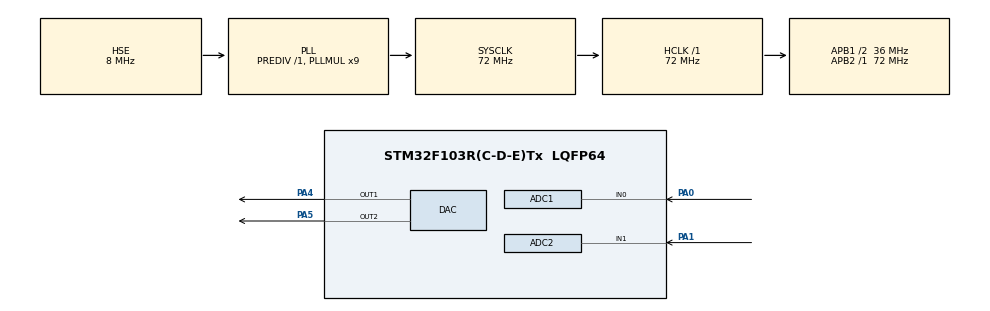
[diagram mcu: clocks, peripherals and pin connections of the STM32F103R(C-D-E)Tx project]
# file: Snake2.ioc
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ADC1.Channel-0\#ChannelRegularConversion=ADC_CHANNEL_0
ADC1.ContinuousConvMode=ENABLE
ADC1.NbrOfConversionFlag=1
ADC1.Rank-0\#ChannelRegularConversion=1
ADC1.SamplingTime-0\#ChannelRegularConversion=ADC_SAMPLETIME_1CYCLE_5
ADC1.master=1
ADC2.Channel-0\#ChannelRegularConversion=ADC_CHANNEL_1
ADC2.ContinuousConvMode=ENABLE
ADC2.DataAlign=ADC_DATAALIGN_RIGHT
ADC2.DiscontinuousConvMode=DISABLE
ADC2.EnableAnalogWatchDog=false
ADC2.EnableRegularConversion=ENABLE
ADC2.ExternalTrigConv=ADC_SOFTWARE_START
ADC2.InjNumberOfConversion=0
ADC2.NbrOfConversion=1
ADC2.NbrOfConversionFlag=1
ADC2.Rank-0\#ChannelRegularConversion=1
ADC2.SamplingTime-0\#ChannelRegularConversion=ADC_SAMPLETIME_1CYCLE_5
ADC2.ScanConvMode=ADC_SCAN_DISABLE
Mcu.Family=STM32F1
Mcu.Name=STM32F103R(C-D-E)Tx
Mcu.Package=LQFP64
NVIC.PriorityGroup=NVIC_PRIORITYGROUP_4
PA0-WKUP.Signal=ADCx_IN0
PA1.Signal=ADCx_IN1
PA13.Mode=Serial_Wire
PA13.Signal=SYS_JTMS-SWDIO
PA14.Mode=Serial_Wire
PA14.Signal=SYS_JTCK-SWCLK
PA4.Signal=COMP_DAC1_group
PA5.Signal=COMP_DAC2_group
PD0-OSC_IN.Mode=HSE-External-Oscillator
PD0-OSC_IN.Signal=RCC_OSC_IN
PD1-OSC_OUT.Mode=HSE-External-Oscillator
PD1-OSC_OUT.Signal=RCC_OSC_OUT
ProjectManager.HeapSize=0x200
ProjectManager.StackSize=0x400
ProjectManager.TargetToolchain=SW4STM32
RCC.ADCPresc=RCC_ADCPCLK2_DIV6
RCC.AHBFreq_Value=72000000
RCC.APB1CLKDivider=RCC_HCLK_DIV2
RCC.APB1Freq_Value=36000000
RCC.APB1TimFreq_Value=72000000
RCC.APB2Freq_Value=72000000
RCC.APB2TimFreq_Value=72000000
RCC.HCLKFreq_Value=72000000
RCC.PLLMUL=RCC_PLL_MUL9
RCC.PLLSourceVirtual=RCC_PLLSOURCE_HSE
RCC.SYSCLKFreq_VALUE=72000000
RCC.SYSCLKSource=RCC_SYSCLKSOURCE_PLLCLK
RCC.USBFreq_Value=72000000
SH.ADCx_IN0.0=ADC1_IN0,IN0
SH.ADCx_IN1.0=ADC2_IN1,IN1
SH.COMP_DAC1_group.0=DAC_OUT1,DAC_OUT1
SH.COMP_DAC2_group.0=DAC_OUT2,DAC_OUT2
board=custom

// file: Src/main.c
/**
  ******************************************************************************
  * @file           : main.c
  * @brief          : Main program body
  ******************************************************************************
  ** This notice applies to any and all portions of this file
  * that are not between comment pairs USER CODE BEGIN and
  * USER CODE END. Other portions of this file, whether
  * inserted by the user or by software development tools
  * are owned by their respective copyright owners.
  *
  * COPYRIGHT(c) 2019 STMicroelectronics
  *
  * Redistribution and use in source and binary forms, with or without modification,
  * are permitted provided that the following conditions are met:
  *   1. Redistributions of source code must retain the above copyright notice,
  *      this list of conditions and the following disclaimer.
  *   2. Redistributions in binary form must reproduce the above copyright notice,
  *      this list of conditions and the following disclaimer in the documentation
  *      and/or other materials provided with the distribution.
  *   3. Neither the name of STMicroelectronics nor the names of its contributors
  *      may be used to endorse or promote products derived from this software
  *      without specific prior written permission.
  *
  * THIS SOFTWARE IS PROVIDED BY THE COPYRIGHT HOLDERS AND CONTRIBUTORS "AS IS"
  * AND ANY EXPRESS OR IMPLIED WARRANTIES, INCLUDING, BUT NOT LIMITED TO, THE
  * IMPLIED WARRANTIES OF MERCHANTABILITY AND FITNESS FOR A PARTICULAR PURPOSE ARE
  * DISCLAIMED. IN NO EVENT SHALL THE COPYRIGHT HOLDER OR CONTRIBUTORS BE LIABLE
  * FOR ANY DIRECT, INDIRECT, INCIDENTAL, SPECIAL, EXEMPLARY, OR CONSEQUENTIAL
  * DAMAGES (INCLUDING, BUT NOT LIMITED TO, PROCUREMENT OF SUBSTITUTE GOODS OR
  * SERVICES; LOSS OF USE, DATA, OR PROFITS; OR BUSINESS INTERRUPTION) HOWEVER
  * CAUSED AND ON ANY THEORY OF LIABILITY, WHETHER IN CONTRACT, STRICT LIABILITY,
  * OR TORT (INCLUDING NEGLIGENCE OR OTHERWISE) ARISING IN ANY WAY OUT OF THE USE
  * OF THIS SOFTWARE, EVEN IF ADVISED OF THE POSSIBILITY OF SUCH DAMAGE.
  *
  ******************************************************************************
  */
#include "main.h"
#include "stm32f1xx_hal.h"
#include "adc.h"
#include "dac.h"
#include "gpio.h"

/* USER CODE BEGIN Includes */
#include "math.h"
/* USER CODE END Includes */

/* USER CODE BEGIN PV */
/* Private variables ---------------------------------------------------------*/

int i, j, k, l;
struct Snake s1;
float valueX = 0;
float valueY = 0;

//snake

int alive = 1;
int xa, ya;
int A;
int last = 4;
int check;

/* USER CODE END PV */

void SystemClock_Config(void);

/* USER CODE BEGIN PFP */
/* Private function prototypes -----------------------------------------------*/

struct coordinate {
	int x, y;
};
struct Snake {
	struct coordinate length[525];
	int L;
};

int randomx() {
	return(rand() % 3100 + 300);
}
int randomy() {
	return(rand() % 3100 + 300);
}

void table() {
    	for(i = 0; i <= 4000; i++){
			HAL_DAC_SetValue(&hdac,DAC_CHANNEL_1,DAC_ALIGN_12B_R,4000);
			HAL_DAC_SetValue(&hdac,DAC_CHANNEL_1,DAC_ALIGN_12B_R,4001);
			HAL_DAC_SetValue(&hdac,DAC_CHANNEL_1,DAC_ALIGN_12B_R,4002);
			HAL_DAC_SetValue(&hdac,DAC_CHANNEL_2,DAC_ALIGN_12B_R,i);
		}
		for(i = 0; i <= 4000; i++){
			HAL_DAC_SetValue(&hdac,DAC_CHANNEL_1,DAC_ALIGN_12B_R,i);
			HAL_DAC_SetValue(&hdac,DAC_CHANNEL_2,DAC_ALIGN_12B_R,4000);
			HAL_DAC_SetValue(&hdac,DAC_CHANNEL_2,DAC_ALIGN_12B_R,4001);
			HAL_DAC_SetValue(&hdac,DAC_CHANNEL_2,DAC_ALIGN_12B_R,4002);
		}
		for(i = 0; i <= 4000; i++){
			HAL_DAC_SetValue(&hdac,DAC_CHANNEL_1,DAC_ALIGN_12B_R,2);
			HAL_DAC_SetValue(&hdac,DAC_CHANNEL_1,DAC_ALIGN_12B_R,1);
			HAL_DAC_SetValue(&hdac,DAC_CHANNEL_1,DAC_ALIGN_12B_R,0);
			HAL_DAC_SetValue(&hdac,DAC_CHANNEL_2,DAC_ALIGN_12B_R,i);
		}
		for(i = 0; i <= 4000; i++){
			HAL_DAC_SetValue(&hdac,DAC_CHANNEL_1,DAC_ALIGN_12B_R,i);
			HAL_DAC_SetValue(&hdac,DAC_CHANNEL_2,DAC_ALIGN_12B_R,2);
			HAL_DAC_SetValue(&hdac,DAC_CHANNEL_2,DAC_ALIGN_12B_R,1);
			HAL_DAC_SetValue(&hdac,DAC_CHANNEL_2,DAC_ALIGN_12B_R,0);
		}
}

void showSnake(){
	  // chap e mar e avvalie
	  for (k = (s1.L - 1); k > 0 ; k--) {
		  if(last == 3 || last == 4){
			  for(l = 0; l < 100; l++){
				  HAL_DAC_SetValue(&hdac,DAC_CHANNEL_1,DAC_ALIGN_12B_R,s1.length[k].x + l);
				  HAL_DAC_SetValue(&hdac,DAC_CHANNEL_2,DAC_ALIGN_12B_R,s1.length[k].y + l);
			  }
		  }
		  else{
			  for(l = 0; l < 100; l++){
				  HAL_DAC_SetValue(&hdac,DAC_CHANNEL_2,DAC_ALIGN_12B_R,s1.length[k].y + l);
				  HAL_DAC_SetValue(&hdac,DAC_CHANNEL_1,DAC_ALIGN_12B_R,s1.length[k].x + l);
			  }
		  }

	  }
}

void shift() {
	int i;
	for (i = 524; i >= 1; i--) {
		s1.length[i].x = s1.length[i - 1].x;
		s1.length[i].y = s1.length[i - 1].y;
	}
}

int die() {
	int i;
	for (i = 1; i <= s1.L; i++) {
		if (s1.length[0].x == s1.length[i].x && s1.length[0].y == s1.length[i].y) return 0;
	}
	return 1;
}

void Apple() {
	int sw, m;
	do {
		sw = 0;
		xa = randomx();
		ya = randomy();
		for (m = 0; m < s1.L; m++) {
			if(last == 1 || last == 2){
				for(int k = -100; k <= 100; k++){
					if (s1.length[m].x + k == xa){
						for(int l = - 10; l <= 10; l++){
							if(s1.length[m].y + l == ya){
								sw = 1;
								break;
							}
						}
					}
					break;
				}
			}
			else {
				for(int k = -100; k <= 100; k++){
					if (s1.length[m].y + k == ya){
						for(int l = - 10; l <= 10; l++){
							if(s1.length[m].x + l == xa){
								sw = 1;
								break;
							}
						}
					}
					break;
				}
			}
			break;
		}
	} while (sw == 1);
}

int eatApple() {
	if(last == 1 || last == 2){
		for(int o = -100; o <= 100; o++){
			if (s1.length[0].x + o == xa){
				for(int p = -50; p <= 50; p++){
					if(s1.length[0].y + p == ya){
						return 1;
					}
				}
			}
		}
	}
	else {
		for(int o = -100; o <= 100; o++){
			if (s1.length[0].y + o == ya){
				for(int p = -50; p <= 50; p++){
					if(s1.length[0].x + p == xa){
						return 1;
					}
				}
			}
		}
	}
	return 0;
}

void readADC(){
    valueX = (HAL_ADC_GetValue(&hadc1) - 2048.0) / 2048.0;
    valueY = (HAL_ADC_GetValue(&hadc2) - 2048.0) / 2048.0;
}

/* USER CODE END PFP */

int main(void)
{

  /* MCU Configuration----------------------------------------------------------*/

  /* Reset of all peripherals, Initializes the Flash interface and the Systick. */
  HAL_Init();

  /* Configure the system clock */
  SystemClock_Config();

  /* Initialize all configured peripherals */
  MX_GPIO_Init();
  MX_DAC_Init();
  MX_ADC1_Init();
  MX_ADC2_Init();
  /* USER CODE BEGIN 2 */

  srand(time(NULL));

  	s1.L = 5;
	for(j = 4; j >= 0; j--){
	  s1.length[j].x = 200 + (j + 1) * 100;
	  s1.length[j].y = 500;

	}

  HAL_DAC_Start(&hdac,DAC_CHANNEL_1);
  HAL_DAC_Start(&hdac,DAC_CHANNEL_2);

  HAL_ADC_Start(&hadc1);
  HAL_ADC_Start(&hadc2);

  showSnake(s1);
  table(); // table
//  srand(time(NULL)); // random avvalin sib
  Apple(s1);

  /* USER CODE END 2 */

  /* Infinite loop */
  /* USER CODE BEGIN WHILE */
  while (alive == 1)
  {

  /* USER CODE END WHILE */

  /* USER CODE BEGIN 3 */

	  table(); // table
	  readADC();
	  for(int i = -10; i < 10; i++){  //apple
		for(int j = -10; j < 10; j++){
				HAL_DAC_SetValue(&hdac,DAC_CHANNEL_1,DAC_ALIGN_12B_R,xa + i);
				HAL_DAC_SetValue(&hdac,DAC_CHANNEL_2,DAC_ALIGN_12B_R,ya + j);
			}
	  }
	  if (valueX >= -0.22 && valueX <= 0.22 && valueY >= -0.22 && valueY <= 0.22) {
			 check = eatApple();
			 if(check == 1){
				 s1.L++;
				 showSnake(s1);
				 Apple(s1);
				 check = 0;
			 }
			 shift();
			 if (last == 1) {                   // up
				 s1.length[0].y+=100;
			 }
			 if (last == 2) {                  // down
				 s1.length[0].y-=100;
			 }
			 if (last == 3) {                   //  left
				 s1.length[0].x-=100;
			 }
			 if (last == 4) {                    //  right
				 s1.length[0].x+=100;
			 }
			 alive = die(s1);
			 showSnake(s1);
		 }
		 else{
			 check = eatApple();
			 if(check == 1){
				 s1.L++;
				 showSnake(s1);
				 Apple(s1);
				 check = 0;
			 }
			 shift();
			  if (valueY > 0.2  && valueX >= 0 && valueX < 0.2 && last != 2) {// up
				  s1.length[0].y+=100;
				  last = 1;
			  }
			  else if (valueY < -0.2 && valueX >= 0 && valueX < 0.2 && last != 1) {// down
				  s1.length[0].y-=100;
				  last = 2;
			  }
			  else if (valueX > 0.2  && valueY >= 0 && valueY < 0.25 && last != 4) {// left
				  s1.length[0].x-=100;
				  last = 3;
			  }
			  else if (valueX < -0.2 && valueY >= -0.25 && valueY < 0.25 && last != 3) { // right
				  s1.length[0].x+=100;
				  last = 4;
			  }
			  else{
				 if (last == 1) {                   // up
					 s1.length[0].y+=100;
				 }
				 if (last == 2) {                  // down
					 s1.length[0].y-=100;
				 }
				 if (last == 3) {                   //  left
					 s1.length[0].x-=100;
				 }
				 if (last == 4) {                    //  right
					 s1.length[0].x+=100;
				 }
			  }
			 alive = die(s1);
			 showSnake(s1);
		  }

		  for (i = 0; i < s1.L; i++) {
			  if(s1.length[i].x >= 4000){
				s1.length[i].x -= 4000;
			  }
			  if(s1.length[i].y >= 4000){
				s1.length[i].y -= 4000;
			  }
			  if(s1.length[i].x <= 2){
				s1.length[i].x += 4000;
			  }
			  if(s1.length[i].y <= 2){
				s1.length[i].y += 4000;
			  }
		 }
  }
  /* USER CODE END 3 */

}

void SystemClock_Config(void)
{

  RCC_OscInitTypeDef RCC_OscInitStruct;
  RCC_ClkInitTypeDef RCC_ClkInitStruct;
  RCC_PeriphCLKInitTypeDef PeriphClkInit;

    /**Initializes the CPU, AHB and APB busses clocks
    */
  RCC_OscInitStruct.OscillatorType = RCC_OSCILLATORTYPE_HSE;
  RCC_OscInitStruct.HSEState = RCC_HSE_ON;
  RCC_OscInitStruct.HSEPredivValue = RCC_HSE_PREDIV_DIV1;
  RCC_OscInitStruct.HSIState = RCC_HSI_ON;
  RCC_OscInitStruct.PLL.PLLState = RCC_PLL_ON;
  RCC_OscInitStruct.PLL.PLLSource = RCC_PLLSOURCE_HSE;
  RCC_OscInitStruct.PLL.PLLMUL = RCC_PLL_MUL9;
  if (HAL_RCC_OscConfig(&RCC_OscInitStruct) != HAL_OK)
  {
    _Error_Handler(__FILE__, __LINE__);
  }

    /**Initializes the CPU, AHB and APB busses clocks
    */
  RCC_ClkInitStruct.ClockType = RCC_CLOCKTYPE_HCLK|RCC_CLOCKTYPE_SYSCLK
                              |RCC_CLOCKTYPE_PCLK1|RCC_CLOCKTYPE_PCLK2;
  RCC_ClkInitStruct.SYSCLKSource = RCC_SYSCLKSOURCE_PLLCLK;
  RCC_ClkInitStruct.AHBCLKDivider = RCC_SYSCLK_DIV1;
  RCC_ClkInitStruct.APB1CLKDivider = RCC_HCLK_DIV2;
  RCC_ClkInitStruct.APB2CLKDivider = RCC_HCLK_DIV1;

  if (HAL_RCC_ClockConfig(&RCC_ClkInitStruct, FLASH_LATENCY_2) != HAL_OK)
  {
    _Error_Handler(__FILE__, __LINE__);
  }

  PeriphClkInit.PeriphClockSelection = RCC_PERIPHCLK_ADC;
  PeriphClkInit.AdcClockSelection = RCC_ADCPCLK2_DIV6;
  if (HAL_RCCEx_PeriphCLKConfig(&PeriphClkInit) != HAL_OK)
  {
    _Error_Handler(__FILE__, __LINE__);
  }

    /**Configure the Systick interrupt time
    */
  HAL_SYSTICK_Config(HAL_RCC_GetHCLKFreq()/1000);

    /**Configure the Systick
    */
  HAL_SYSTICK_CLKSourceConfig(SYSTICK_CLKSOURCE_HCLK);

  /* SysTick_IRQn interrupt configuration */
  HAL_NVIC_SetPriority(SysTick_IRQn, 0, 0);
}

void _Error_Handler(char *file, int line)
{
  while(1)
  {
  }
}

/************************ (C) COPYRIGHT STMicroelectronics *****END OF FILE****/
